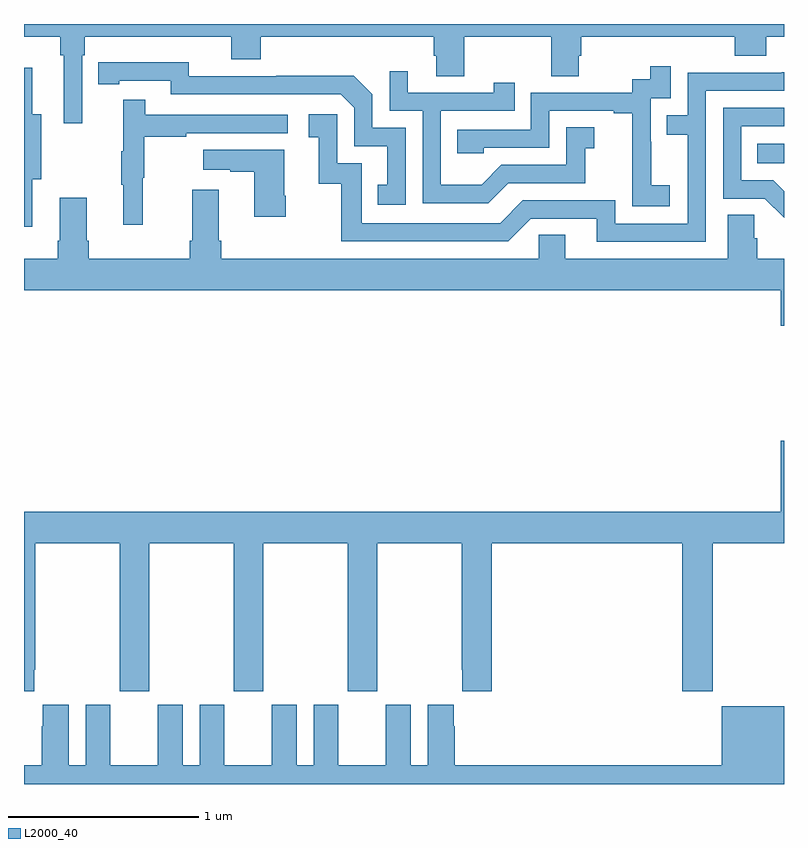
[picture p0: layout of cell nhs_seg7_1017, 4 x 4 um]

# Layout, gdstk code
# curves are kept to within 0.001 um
import gdstk
lib = gdstk.Library(unit=1e-6, precision=1e-09)
def R(c, l, rs):  # rectangles x0, y0, x1, y1
    for r in rs: c.add(gdstk.rectangle(r[:2], r[2:], *l))
def P(c, l, *ps):  # polygons
    for p in ps: c.add(gdstk.Polygon(p, *l))
L2000_40 = (2000, 40)

nhs_seg7_1017 = lib.new_cell('nhs_seg7_1017')
R(nhs_seg7_1017, L2000_40, [(188.86,1017.266,189,1017.37)])
P(nhs_seg7_1017, L2000_40, [(185.307,1017.836),(185.321,1017.836),(185.321,1017.932),(186.092,1017.932),(186.092,1017.815),(186.245,1017.815),(186.245,1017.932),(187.157,1017.932),(187.157,1017.834),(187.169,1017.834),(187.169,1017.724),(187.317,1017.724),(187.317,1017.932),(187.774,1017.932),(187.774,1017.724),(187.921,1017.724),(187.921,1017.834),(187.934,1017.834),(187.934,1017.932),(188.741,1017.932),(188.741,1017.833),(188.906,1017.833),(188.906,1017.932),(189,1017.932),(189,1018),(185,1018),(185,1017.932),(185.191,1017.932),(185.191,1017.836),(185.21,1017.836),(185.21,1017.477),(185.307,1017.477)],
  [(187.008,1017.453),(186.834,1017.453),(186.834,1017.63),(186.736,1017.728),(186.328,1017.728),(186.328,1017.726),(185.868,1017.726),(185.868,1017.799),(185.392,1017.798),(185.392,1017.682),(185.5,1017.682),(185.5,1017.702),(185.772,1017.702),(185.772,1017.63),(186.666,1017.63),(186.738,1017.558),(186.738,1017.357),(186.911,1017.357),(186.911,1017.153),(186.862,1017.153),(186.862,1017.048),(187.008,1017.048)],
  [(188.398,1017.151),(188.3,1017.151),(188.3,1017.38),(188.298,1017.38),(188.298,1017.609),(188.403,1017.609),(188.403,1017.778),(188.295,1017.778),(188.295,1017.708),(188.202,1017.708),(188.202,1017.639),(187.668,1017.639),(187.668,1017.444),(187.279,1017.444),(187.279,1017.321),(187.419,1017.321),(187.419,1017.348),(187.764,1017.348),(187.764,1017.543),(188.105,1017.543),(188.105,1017.531),(188.201,1017.531),(188.201,1017.247),(188.2,1017.247),(188.2,1017.041),(188.398,1017.041)],
  [(185.044,1017.182),(185.092,1017.182),(185.092,1017.526),(185.044,1017.526),(185.044,1017.769),(185,1017.769),(185,1016.934),(185.044,1016.934)],
  [(187.549,1017.162),(187.953,1017.162),(187.953,1017.347),(188.002,1017.347),(188.002,1017.457),(187.854,1017.457),(187.854,1017.258),(187.512,1017.258),(187.408,1017.154),(187.194,1017.154),(187.194,1017.543),(187.583,1017.543),(187.583,1017.691),(187.472,1017.691),(187.472,1017.639),(187.021,1017.639),(187.021,1017.751),(186.924,1017.751),(186.924,1017.543),(187.098,1017.543),(187.098,1017.057),(187.444,1017.057)],
  [(188.589,1017.648),(189,1017.648),(189,1017.746),(188.989,1017.746),(188.989,1017.744),(188.493,1017.744),(188.493,1017.519),(188.383,1017.519),(188.383,1017.418),(188.493,1017.418),(188.493,1016.949),(188.112,1016.949),(188.112,1017.072),(187.626,1017.072),(187.506,1016.952),(186.777,1016.952),(186.777,1017.267),(186.648,1017.267),(186.648,1017.526),(186.498,1017.526),(186.498,1017.405),(186.551,1017.405),(186.551,1017.159),(186.669,1017.159),(186.669,1016.856),(187.548,1016.856),(187.668,1016.976),(188.015,1016.976),(188.015,1016.853),(188.589,1016.853)],
  [(185.624,1017.192),(185.632,1017.192),(185.632,1017.406),(185.855,1017.406),(185.855,1017.426),(186.388,1017.426),(186.388,1017.522),(185.639,1017.522),(185.639,1017.601),(185.522,1017.601),(185.522,1017.329),(185.511,1017.329),(185.511,1017.155),(185.522,1017.155),(185.522,1016.943),(185.624,1016.943)],
  [(189,1017.121),(188.944,1017.177),(188.775,1017.177),(188.775,1017.462),(189,1017.462),(189,1017.558),(188.679,1017.558),(188.679,1017.081),(188.898,1017.081),(189,1016.98)],
  [(186.378,1017.097),(186.37,1017.097),(186.37,1017.337),(185.943,1017.337),(185.943,1017.233),(186.086,1017.233),(186.086,1017.223),(186.212,1017.223),(186.212,1016.985),(186.378,1016.985)],
  [(189,1016.764),(188.858,1016.764),(188.858,1016.873),(188.844,1016.873),(188.844,1016.996),(188.705,1016.996),(188.705,1016.764),(187.849,1016.764),(187.849,1016.891),(187.71,1016.891),(187.71,1016.764),(186.038,1016.764),(186.038,1016.86),(186.025,1016.86),(186.025,1017.127),(185.885,1017.127),(185.885,1016.86),(185.873,1016.86),(185.873,1016.764),(185.342,1016.764),(185.342,1016.86),(185.329,1016.86),(185.329,1017.085),(185.189,1017.085),(185.189,1016.86),(185.177,1016.86),(185.177,1016.764),(185,1016.764),(185,1016.6),(188.984,1016.6),(188.984,1016.412),(189,1016.412)],
  [(185.053,1014.601),(185.058,1014.601),(185.058,1015.268),(185.503,1015.268),(185.503,1014.489),(185.658,1014.489),(185.658,1015.268),(186.103,1015.268),(186.103,1014.489),(186.258,1014.489),(186.258,1015.268),(186.703,1015.268),(186.703,1014.489),(186.858,1014.489),(186.858,1015.268),(187.303,1015.268),(187.303,1014.601),(187.307,1014.601),(187.307,1014.489),(187.463,1014.489),(187.463,1015.268),(188.465,1015.268),(188.465,1014.489),(188.625,1014.489),(188.625,1015.268),(189,1015.268),(189,1015.807),(188.984,1015.807),(188.984,1015.432),(185,1015.432),(185,1014.489),(185.053,1014.489)],
  [(189,1014.409),(188.672,1014.409),(188.672,1014.1),(187.268,1014.1),(187.268,1014.305),(187.261,1014.305),(187.261,1014.418),(187.124,1014.418),(187.124,1014.1),(187.036,1014.1),(187.036,1014.418),(186.905,1014.418),(186.905,1014.1),(186.655,1014.1),(186.655,1014.418),(186.524,1014.418),(186.524,1014.1),(186.436,1014.1),(186.436,1014.418),(186.305,1014.418),(186.305,1014.1),(186.055,1014.1),(186.055,1014.418),(185.924,1014.418),(185.924,1014.1),(185.836,1014.1),(185.836,1014.418),(185.705,1014.418),(185.705,1014.1),(185.455,1014.1),(185.455,1014.418),(185.324,1014.418),(185.324,1014.1),(185.236,1014.1),(185.236,1014.418),(185.099,1014.418),(185.099,1014.305),(185.093,1014.305),(185.093,1014.1),(185,1014.1),(185,1014),(189,1014)])

lib.write_gds('nhs_seg7_1017.gds')
